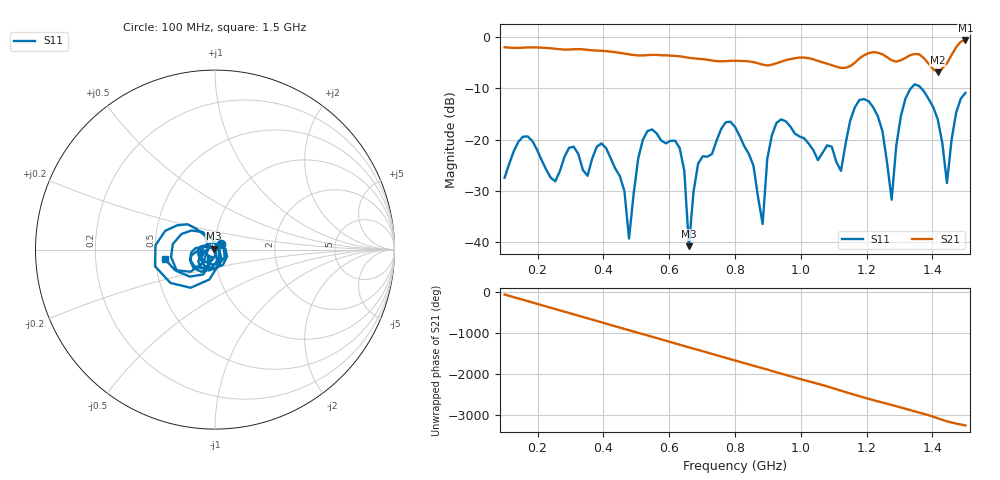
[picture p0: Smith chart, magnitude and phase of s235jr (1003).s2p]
! NanoVNA-App
! Date: 2025-09-25 15:11:58
! Start: 100MHz Stop: 1,5GHz Points: 101
! S-Parameter data: F S11 S21 S12 S22
# Hz S RI R 50
!  Frequency  S11_Real  S11_Imag  S21_Real  S21_Imag  S12_Real  S12_Imag  S22_Real  S22_Imag
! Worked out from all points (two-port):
!   101 points, 100 MHz to 1.5 GHz, reference 50 ohm
!   highest |S21| = -0.64 dB at 1.5 GHz (marker M1); lowest = -6.9 dB at 1.416 GHz (marker M2)
!   |S21| within 3 dB of the highest: start of sweep to 612.4 MHz; 1.19 GHz to 1.256 GHz (65.84 MHz wide, 5.39 % of centre) (the widest 2 of 4)
!   lowest |S11| = -40.8 dB at 660 MHz (marker M3), VSWR 1.02, Z = 49.3 + j0.542 ohm
!   |S11| at or under -10 dB: start of sweep to 1.334 GHz; 1.366 GHz to end of sweep
!   S12 and S22 are empty: the file has one direction only
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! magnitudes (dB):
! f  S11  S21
! 100 MHz  -27.5  -2.0
! 156 MHz  -19.4  -2.0
! 338 MHz  -26.0  -2.4
! 408 MHz  -21.6  -2.7
! 478 MHz  -39.3  -3.3
! 520 MHz  -20.1  -3.6
! 576 MHz  -20.2  -3.5
! 632 MHz  -21.7  -3.7
! 660 MHz  -40.8  -4.0
! 688 MHz  -24.7  -4.2
! 800 MHz  -17.5  -4.6
! 884 MHz  -36.5  -5.4
! 898 MHz  -23.8  -5.5
! 926 MHz  -16.8  -5.1
! 1.038 GHz  -22.1  -4.3
! 1.122 GHz  -26.1  -6.0
! 1.206 GHz  -12.5  -3.1
! 1.276 GHz  -31.7  -4.5
! 1.332 GHz  -10.2  -3.5
! 1.416 GHz  -16.0  -6.9
! 1.444 GHz  -28.5  -5.1
! 1.5 GHz  -10.9  -0.6
